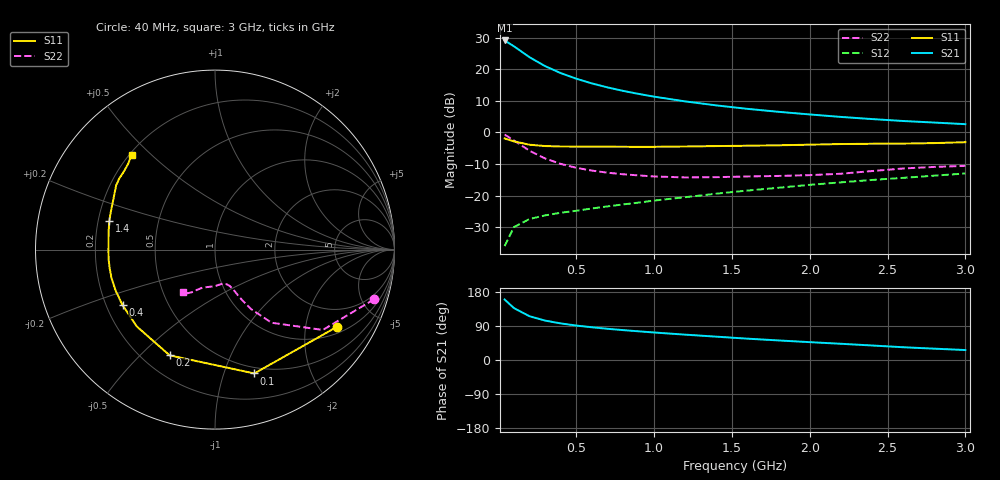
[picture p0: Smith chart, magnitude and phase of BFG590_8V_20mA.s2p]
! Filename:  BFG590J.S2P  Version:  4.0
! Philips part #: BFG590  Date: Jun 1994
! Bias condition: Vce=8V; Ic=20mA
#  MHz  S  MA  R  50
! Freq  S11  S21  S12  S22  !GUM [dB]
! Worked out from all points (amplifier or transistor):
!   21 points, 40 MHz to 3 GHz, reference 50 ohm
!   highest |S21| = 29.1 dB at 40 MHz (marker M1)
!   |S21| within 3 dB of that: start of sweep to 133.5 MHz
!   unconditionally stable (mu >= 1): 871.4 MHz to 2.359 GHz
!   at 300 MHz: K = 0.53, MSG = 23.6 dB, |S12| = -26.2 dB
!   at 1 GHz: K = 1.05, MAG = 15.1 dB, |S12| = -21.5 dB
!   at 3 GHz: K = 0.87, MSG = 7.8 dB, |S12| = -13.0 dB
!   S11 on the Smith chart (normalised r, x): 40 MHz: 1.22, -2.98; 100 MHz: 0.44, -1.27; 200 MHz: 0.31, -0.62; 400 MHz: 0.27, -0.26; 1.4 GHz: 0.25, +0.12; 3 GHz: 0.21, +0.44
40  0.804 -32.4  28.45 159.6  0.016 74.0  0.928 -17.4
100  0.724 -72.4  23 136.9  0.032 57.1  0.749 -36.7
200  0.641 -113.2  15.47 115.5  0.043 45.4  0.515 -52.3
300  0.611 -135.5  11.2 104.0  0.049 43.0  0.389 -58.7
400  0.601 -148.9  8.685 96.6  0.054 43.8  0.319 -61.8
500  0.599 -158.0  7.086 90.9  0.058 45.2  0.277 -63.7
600  0.598 -164.7  5.968 86.4  0.063 47.6  0.25 -65.1
700  0.596 -170.0  5.165 82.4  0.068 49.8  0.232 -66.5
800  0.595 -174.7  4.551 78.9  0.073 51.8  0.219 -67.9
900  0.594 -178.8  4.072 75.7  0.078 53.7  0.21 -69.8
1000  0.594 177.4  3.686 72.6  0.084 55.0  0.202 -71.8
1200  0.601 170.6  3.1 66.9  0.095 57.3  0.195 -77.4
1400  0.61 164.9  2.68 61.6  0.108 59.2  0.197 -83.4
1600  0.618 159.8  2.364 56.3  0.121 60.2  0.202 -88.8
1800  0.628 155.0  2.121 51.6  0.134 61.0  0.206 -94.0
2000  0.642 150.6  1.928 47.1  0.149 61.4  0.212 -100.7
2200  0.657 146.9  1.762 42.8  0.163 61.6  0.223 -108.1
2400  0.664 143.5  1.63 38.3  0.178 60.8  0.246 -114.2
2600  0.668 139.7  1.519 33.7  0.192 59.7  0.27 -118.5
2800  0.68 135.4  1.436 29.9  0.208 59.0  0.286 -121.9
3000  0.703 131.3  1.354 26.3  0.225 57.7  0.297 -126.6
